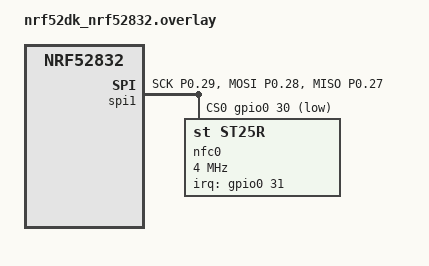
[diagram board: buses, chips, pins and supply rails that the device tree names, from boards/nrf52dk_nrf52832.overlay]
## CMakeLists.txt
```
#-------------------------------------------------------------------------------
# Zephyr Example Application
#
# Copyright (c) 2021 Nordic Semiconductor ASA
# SPDX-License-Identifier: Apache-2.0

cmake_minimum_required(VERSION 3.21)

# STEP 8.1 Add external module
list(APPEND EXTRA_ZEPHYR_MODULES
  ${CMAKE_CURRENT_SOURCE_DIR}/modules/zephyr/zephyr-st25r
)

find_package(Zephyr REQUIRED HINTS $ENV{ZEPHYR_BASE})

project(app LANGUAGES C)


target_sources(app PRIVATE
    src/analogConfigTbl_NFC08A1.c
    src/ce.c
    src/polling.c
    src/bluetooth_manager.c
    src/main.c
    )
```

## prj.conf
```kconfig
CONFIG_LOG=y

CONFIG_SPI=y
CONFIG_I2C=n
CONFIG_GPIO=y

CONFIG_ST25R=y
CONFIG_ST25R3916B=y
CONFIG_ST25R_TRIGGER_GLOBAL_THREAD=y

CONFIG_RFAL_USE_I2C=n
CONFIG_RFAL_FEATURE_NFCA=y
CONFIG_RFAL_FEATURE_ISO_DEP=y
CONFIG_RFAL_FEATURE_ISO_DEP_POLL=y


# Button and LED library
CONFIG_DK_LIBRARY=y

# Bluetooth LE
CONFIG_BT=y
# STEP 1 - Include the Peripheral Role support
CONFIG_BT_PERIPHERAL=y
# STEP 2 - Change the Bluetooth LE device name to Nordic_Peripheral
CONFIG_BT_DEVICE_NAME="SlimIOT Poller"
```

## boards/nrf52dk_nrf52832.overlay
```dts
/* STEP 2.1 - Add the SPI peripheral to spi1 */
&i2c0 {	status = "disabled";};
&spi0 {	status = "disabled";};
&i2c1 {	status = "disabled";};
	
&spi1 {
    compatible = "nordic,nrf-spi"; //using SPI as per ERRATA 58
	status = "okay";
	pinctrl-0 = <&spi1_default>;
	pinctrl-1 = <&spi1_sleep>;
	pinctrl-names = "default", "sleep";
	cs-gpios = <&gpio0 30 GPIO_ACTIVE_LOW>;
	 nfc0: st25r@0 {
        compatible = "st,st25r";
        reg = <0x0>;
        spi-max-frequency = <4000000>;
        irq-gpios = <&gpio0 31 GPIO_ACTIVE_HIGH>;

    };
};

/* STEP 2.2 - Change the pin configuration */
&pinctrl {
	spi1_default: spi1_default {
		group1 {
				psels = <NRF_PSEL(SPIM_SCK, 0, 29)>,
						<NRF_PSEL(SPIM_MOSI, 0, 28)>,
						<NRF_PSEL(SPIM_MISO, 0, 27)>;
		};
	};

	spi1_sleep: spi1_sleep {
		group1 {
				psels = <NRF_PSEL(SPIM_SCK, 0, 29)>,
						<NRF_PSEL(SPIM_MOSI, 0, 28)>,
						<NRF_PSEL(SPIM_MISO, 0, 27)>;
				low-power-enable;
		};
	};
};
```

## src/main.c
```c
#include <stdbool.h>

#include <zephyr/kernel.h>
#include <zephyr/logging/log.h>

#include "demo.h"



LOG_MODULE_DECLARE(ST25R);

const struct gpio_dt_spec ledspec = GPIO_DT_SPEC_GET(DT_NODELABEL(led0), gpios);

int main()
{

    int err = gpio_is_ready_dt(&ledspec);
	if (!err) {
		LOG_ERR("Error: GPIO device is not ready, err: %d", err);
		return 0;
	}

    bool rv = demoIni();
    if (!rv) {
        LOG_ERR("failed to initialize");
    } 

    gpio_pin_configure_dt(&ledspec, GPIO_OUTPUT_ACTIVE);

        while (1) {
             gpio_pin_toggle_dt(&ledspec);
             
            demoCycle();

            LOG_INF("AUJILA");


             k_sleep(K_MSEC(1000));


        }
    

    return 0;
}
```

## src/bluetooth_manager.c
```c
/*
 * Copyright (c) 2023 Nordic Semiconductor ASA
 *
 * SPDX-License-Identifier: LicenseRef-Nordic-5-Clause
 */

#include <zephyr/kernel.h>
#include <zephyr/logging/log.h>
#include <zephyr/bluetooth/bluetooth.h>
#include <zephyr/bluetooth/conn.h>
#include <zephyr/bluetooth/gap.h>
/* STEP 3.2.1 - Include the header file of the UUID helper macros and definitions */
#include <zephyr/bluetooth/uuid.h>
/* STEP 4.1 - Include the header file for managing Bluetooth LE addresses */
#include <zephyr/bluetooth/addr.h>

#include <dk_buttons_and_leds.h>

/* STEP 5.1 - Create the advertising parameter for connectable advertising */
static const struct bt_le_adv_param *adv_param = BT_LE_ADV_PARAM(
	(BT_LE_ADV_OPT_CONN |
	 BT_LE_ADV_OPT_USE_IDENTITY), /* Connectable advertising and use identity address */
	800, /* Min Advertising Interval 500ms (800*0.625ms) */
	801, /* Max Advertising Interval 500.625ms (801*0.625ms) */
	NULL); /* Set to NULL for undirected advertising */

LOG_MODULE_REGISTER(Lesson2_Exercise3, LOG_LEVEL_INF);

#define DEVICE_NAME CONFIG_BT_DEVICE_NAME
#define DEVICE_NAME_LEN (sizeof(DEVICE_NAME) - 1)

#define RUN_STATUS_LED DK_LED1
#define RUN_LED_BLINK_INTERVAL 1000
static struct k_work adv_work;
static const struct bt_data ad[] = {
	/* STEP 3.1 - Set the flags and populate the device name in the advertising packet */
	BT_DATA_BYTES(BT_DATA_FLAGS, (BT_LE_AD_GENERAL | BT_LE_AD_NO_BREDR)),
	BT_DATA(BT_DATA_NAME_COMPLETE, DEVICE_NAME, DEVICE_NAME_LEN),

};

static const struct bt_data sd[] = {
	/* STEP 3.2.2 - Include the 16-bytes (128-Bits) UUID of the LBS service in the scan response packet */
	BT_DATA_BYTES(BT_DATA_UUID128_ALL,
		      BT_UUID_128_ENCODE(0x00001523, 0x1212, 0xefde, 0x1523, 0x785feabcd123)),
};
/* STEP 5.2 - Resume advertising after a disconnection */
static void adv_work_handler(struct k_work *work)
{
	int err = bt_le_adv_start(adv_param, ad, ARRAY_SIZE(ad), sd, ARRAY_SIZE(sd));

	if (err) {
		printk("Advertising failed to start (err %d)\n", err);
		return;
	}

	printk("Advertising successfully started\n");
}
static void advertising_start(void)
{
	k_work_submit(&adv_work);
}
static void recycled_cb(void)
{
	printk("Connection object available from previous conn. Disconnect is complete!\n");
	advertising_start();
}

BT_CONN_CB_DEFINE(conn_callbacks) = {
	.recycled = recycled_cb,
};

int ble_thread_main(void)
{
	int blink_status = 0;
	int err;

	LOG_INF("Starting Lesson 2 - Exercise 3 \n");

	err = dk_leds_init();
	if (err) {
		LOG_ERR("LEDs init failed (err %d)\n", err);
		return -1;
	}

	/* STEP 4.2 - Change the random static address */
	bt_addr_le_t addr;
	err = bt_addr_le_from_str("FF:EE:DD:CC:BB:AA", "random", &addr);
	if (err) {
		printk("Invalid BT address (err %d)\n", err);
	}

	err = bt_id_create(&addr, NULL);
	if (err < 0) {
		printk("Creating new ID failed (err %d)\n", err);
	}

	err = bt_enable(NULL);
	if (err) {
		LOG_ERR("Bluetooth init failed (err %d)\n", err);
		return -1;
	}

	LOG_INF("Bluetooth initialized\n");
	/* STEP 5.3 - Start connectable advertising */
	k_work_init(&adv_work, adv_work_handler);
	advertising_start();

	LOG_INF("Advertising successfully started\n");

	for (;;) {
		dk_set_led(RUN_STATUS_LED, (++blink_status) % 2);
		k_sleep(K_MSEC(RUN_LED_BLINK_INTERVAL));
	}
}


K_THREAD_DEFINE(ble_thread, 4096, ble_thread_main, NULL, NULL, NULL, 1, K_ESSENTIAL, 0);
```

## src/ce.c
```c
/**
  ******************************************************************************
  * @file    demo_ce.c
  * @author  MMY Application Team
  * @brief   Body function to manage card emul mode
  ******************************************************************************
  * @attention
  *
  * Copyright (c) 2021 STMicroelectronics.
  * All rights reserved.
  *
  * This software is licensed under terms that can be found in the LICENSE file
  * in the root directory of this software component.
  * If no LICENSE file comes with this software, it is provided AS-IS.
  *
  ******************************************************************************
  */

/* Includes ------------------------------------------------------------------*/
#include "ce.h"
#include "utils.h"
#include "st_errno.h"
#include "rfal_rf.h"
#include "rfal_nfca.h"
#include "rfal_nfcf.h"

/** @addtogroup X-CUBE-NFC6_Applications
 *  @{
 */

/** @addtogroup CardEmulation
 *  @{
 */

/** @addtogroup CE_CardEmul
 * @{
 */

/* Private typedef -----------------------------------------------------------*/
/** @defgroup CE_CardEmul_Private_Typedef
 * @{
 */
enum States
        {
    STATE_IDLE                      = 0,    /*!< Emulated Tag state idle                  */
    STATE_APP_SELECTED              = 1,    /*!< Emulated Tag state application selected  */
    STATE_CC_SELECTED               = 2,    /*!< Emulated Tag state CCFile selected       */
    STATE_FID_SELECTED              = 3,    /*!< Emulated Tag state FileID selected       */
        };
/**
  * @}
  */

/* Private define ------------------------------------------------------------*/
/** @defgroup CE_CardEmul_Private_Define
 * @{
 */

#define NDEF_SIZE           256       /*!< Max NDEF size emulated. Range: 0005h - 7FFFh    */
#define T4T_CLA_00          0x00      /*!< CLA value for type 4 command                    */
#define T4T_INS_SELECT      0xA4      /*!< INS value for select command                    */
#define T4T_INS_READ        0xB0      /*!< INS value for reabbinary command                */
#define T4T_INS_UPDATE      0xD6      /*!< INS value for update command                    */
#define FID_CC              0xE103    /*!< File ID number for CCFile                       */
#define FID_NDEF            0x0001    /*!< File ID number for NDEF file                    */
#define T3T_BLOCK_SIZE      0x10      /*!< Block size in Type 3 Tag                        */
/**
  * @}
  */

/* Private macro -------------------------------------------------------------*/
/* Private variables ---------------------------------------------------------*/
/** @defgroup CE_CardEmul_Private_Variables
 * @{
 */
static uint8_t        gNfcfNfcid[RFAL_NFCF_NFCID2_LEN];
static uint8_t        ndefFile[NDEF_SIZE];  /*!< Buffer to store NDEF File                 */
static int8_t         nState = STATE_IDLE;  /*!< Type 4 tag emulation status               */
static int32_t        nSelectedIdx = -1;    /*!< current file selected                     */
static int32_t        nFiles = 2;           /*!< Number of file emulated                   */


/**
  * CCLEN : Indicates the size of this CC File <BR>
  * T4T_VNo : Indicates the Mapping Version <BR>
  * MLe high : Max R-APDU size <BR>
  * MLc high : Max C-APDU size <BR>
  * NDEF FCI T: Indicates the NDEF-File_Ctrl_TLV <BR>
  * NDEF FCI L: The length of the V-field <BR>
  * NDEF FCI V1: NDEF File Identifier <BR>
  * NDEF FCI V2: NDEF File size <BR>
  * NDEF FCI V3: NDEF Read AC <BR>
  * NDEF FCI V4: NDEF Write AC <BR>
  */
static uint8_t ccfile[] = {
        0x00, 0x0F,                                       /* CCLEN      */
        0x20,                                             /* T4T_VNo    */
        0x00, 0x7F,                                       /* MLe        */
        0x00, 0x7F,                                       /* MLc        */
        0x04,                                             /* T          */
        0x06,                                             /* L          */
        (FID_NDEF & 0xFF00) >> 8, (FID_NDEF & 0x00FF),    /* V1         */
        (NDEF_SIZE & 0xFF00) >> 8, (NDEF_SIZE & 0x00FF),  /* V2         */
        0x00,                                             /* V3         */
        0x00                                              /* V4         */
};

static uint32_t pdwFileSize[] = {sizeof(ccfile), NDEF_SIZE};  /*!< Current emulated files size     */

/**
  * NDEF length <BR>
  * NDEF Header: MB,ME,SR,Well known Type <BR>
  * NDEF type length <BR>
  * NDEF payload length <BR>
  * NDEF Type : URI <BR>
  * NDEF URI abreviation field : http://www. <BR>
  * NDEF URI string : st.com/st25-demo <BR>
  */
static const uint8_t ndef_uri[] = { 0x00, 0x15,                      /* NDEF length                */
                                    0xD1,                            /* NDEF Header                */
                                    0x01,                            /* NDEF type length           */
                                    0x11,                            /* NDEF payload length        */
                                    0x55,                            /* NDEF Type                  */
                                    0x01,                            /* NDEF URI abreviation field */
                                    0x73, 0x74, 0x2E, 0x63, 0x6F,    /* NDEF URI string            */
                                    0x6D, 0x2F, 0x73, 0x74, 0x32,
                                    0x35, 0x2D, 0x64, 0x65, 0x6D, 0x6F };

__WEAK const uint8_t *demoNdefFile = ndef_uri;
__WEAK uint32_t demoNdefFileLen = sizeof(ndef_uri);


/**
  * Ver : Indicates the NDEF mapping version <BR>
  * Nbr : Indicates the number of blocks that can be read <BR>
  * Nbw : Indicates the number of blocks that can be written <BR>
  * NmaxB : Indicates the maximum number of blocks available for NDEF data <BR>
  * WriteFlag : Indicates whether a previous NDEF write procedure has finished or not <BR>
  * RWFlag : Indicates data can be updated or not <BR>
  * Ln : Is the size of the actual stored NDEF data in bytes <BR>
  * Checksum : allows the Reader/Writer to check whether the Attribute Data are correct <BR>
  */
static uint8_t InformationBlock[] = { 0x10,                                             /* Ver        */
                                      0x08,                                             /* Nbr        */
                                      0x08,                                             /* Nbw        */
                                      0x00, 0x0F,                                       /* NmaxB      */
                                      0x00, 0x00, 0x00, 0x00,                           /* RFU        */
                                      0x00,                                             /* WriteFlag  */
                                      0x01,                                             /* RWFlag     */
                                      0x00, 0x00, 0x15,                                 /* Ln         */
                                      0x00, 0x45                                        /* Checksum   */
};
/**
  * @}
  */

/* Private function prototypes -----------------------------------------------*/

/* Private functions ---------------------------------------------------------*/
/** @defgroup CE_CardEmul_Private_Functions
 * @{
 */

/**
  *****************************************************************************
  * @brief  Compare 2 commands supplied in parameters
  *
  * @param[in]  cmd : pointer to the received command.
  * @param[in]  find : pointer to the avalaible command.
  * @param[in]  len : length of the available command.
  *
  * @retval True : Same command.
  * @retval False : Different command.
  *****************************************************************************
  */
static bool cmdCompare(uint8_t *cmd, uint8_t *find, uint16_t len)
{
    for(int i = 0; i < 20; i++)
    {
        if(!memcmp(&cmd[i],find, len))
        {
            return true;
        }
    }
    return false;
}

/**
  *****************************************************************************
  * @brief  Manage the T4T Select answer to the reader
  *
  * @param[in]  cmdData    : pointer to the received command.
  * @param[out] rspData    : pointer to the answer to send.
  *
  * @return Answer size.
  *****************************************************************************
  */
static uint16_t demoCeT4TSelect(uint8_t *cmdData, uint8_t *rspData )
{
    bool success = false;
    /*
     * Cmd: CLA(1) | INS(1) | P1(1) | P2(1) | Lc(1) | Data(n) | [Le(1)]
     * Rsp: [FCI(n)] | SW12
     *
     * Select App by Name NDEF:       00 A4 04 00 07 D2 76 00 00 85 01 01 00
     * Select App by Name NDEF 4 ST:  00 A4 04 00 07 A0 00 00 00 03 00 00 00
     * Select CC FID:                 00 A4 00 0C 02 xx xx
     * Select NDEF FID:               00 A4 00 0C 02 xx xx
     */

    uint8_t aid[] = {0xD2, 0x76, 0x00, 0x00, 0x85, 0x01, 0x01};
    uint8_t fidCC[] = {FID_CC >> 8 , FID_CC & 0xFF};
    uint8_t fidNDEF[] = {FID_NDEF >> 8, FID_NDEF & 0xFF};
    uint8_t selectFileId[] = {0xA4, 0x00, 0x0C, 0x02, 0x00, 0x01 };


    if(cmdCompare( cmdData, aid, sizeof(aid)))
    { /* Select Appli */
        nState = STATE_APP_SELECTED;
        success = true;
    }
    else if((nState >= STATE_APP_SELECTED) && cmdCompare(cmdData, fidCC, sizeof(fidCC)))
    { /* Select CC */
        nState = STATE_CC_SELECTED;
        nSelectedIdx = 0;
        success = true;
    }
    else if((nState >= STATE_APP_SELECTED) && (cmdCompare(cmdData,fidNDEF,sizeof(fidNDEF)) || cmdCompare(cmdData,selectFileId,sizeof(selectFileId))))
    { /* Select NDEF */
        nState = STATE_FID_SELECTED;
        nSelectedIdx = 1;
        success = true;
    }
    else
    {
        nState = STATE_IDLE;
    }

    rspData[0] = (success ? (char)0x90 : 0x6A);
    rspData[1] = (success ? (char)0x00 : 0x82);

    return 2;
}

/**
  *****************************************************************************
  * @brief  Manage the T4T Read answer to the reader
  *
  * @param[in]  cmdData    : pointer to the received command.
  * @param[out] rspData    : pointer to the answer to send.
  * @param[in]  rspDataLen : size of the answer buffer.
  *
  * @return Answer size.
  *****************************************************************************
  */
static uint16_t demoCeT4TRead(uint8_t *cmdData, uint8_t *rspData, uint16_t rspDataLen)
{
    /*
     * Cmd: CLA(1) | INS(1) | P1(1).. offset inside file high | P2(1).. offset inside file high | Le(1).. nBytes to read
     * Rsp: BytesRead | SW12
     */
    unsigned short offset = (cmdData[2] << 8) | cmdData[3];
    unsigned short toRead = cmdData[4];
    uint8_t * ppbMemory;

    if( rspDataLen < 2 )
    {
        platformErrorHandle();  /* Must ensure appropriate buffer */
    }

    /* Any file selected */
    if(nSelectedIdx < 0 || nSelectedIdx >= nFiles)
    {
        rspData[0] = ((char)0x6A);
        rspData[1] = ((char)0x82);
        return 2;
    }

    /* offset + length exceed file size */
    if((unsigned long)(offset + toRead) > pdwFileSize[nSelectedIdx])
    {
        toRead = pdwFileSize[nSelectedIdx] - offset;
    }

    if( rspDataLen < (toRead+2) )
    {
        rspData[0] = ((char)0x6F);
        rspData[1] = ((char)0x00);
        return 2;
    }

    ppbMemory = (nSelectedIdx == 0 ? ccfile : ndefFile);
    /* read data */
    memcpy(rspData, &ppbMemory[offset], toRead);

    rspData[toRead] = ((char)0x90);
    rspData[toRead+1] = ((char)0x00);
    return toRead + 2;
}

/**
  *****************************************************************************
  * @brief  Manage the T4T Update answer to the reader
  *
  * @param[in]  cmdData : pointer to the received command.
  * @param[in]  rspData : pointer to the answer to send.
  *
  * @return Answer size.
  *****************************************************************************
  */
static uint16_t demoCeT4TUpdate(uint8_t *cmdData, uint8_t *rspData)
{
    uint32_t offset = (cmdData[2] << 8) | cmdData[3];
    uint32_t length = cmdData[4];


    if(nSelectedIdx != 1)
    {
        rspData[0] = ((char)0x6A);
        rspData[1] = ((char)0x82);
        return 2;
    }

    if((unsigned long)(offset + length) > pdwFileSize[nSelectedIdx])
    {
        rspData[0] = ((char)0x62);
        rspData[1] = ((char)0x82);
        return 2;
    }

    memcpy((ndefFile + offset), &cmdData[5], length);

    rspData[0] = ((char)0x90);
    rspData[1] = ((char)0x00);
    return 2;
}

/**
  *****************************************************************************
  * @brief  Manage the T4T Read answer to the reader
  *
  * @param[in]  cmdData    : pointer to the received command.
  * @param[out] rspData    : pointer to the answer to send.
  * @param[in]  rspDataLen : size of the answer buffer.
  *
  * @return Answer size.
  *****************************************************************************
  */
static uint16_t demoCeT3TCheck(uint8_t *cmdData, uint8_t *rspData, uint16_t rspDataLen)
{
    /*
     * Cmd: cmd | NFCID2 | NoS | Service code list | NoB | Block list
     * Rsp: rsp | NFCID2 | Status Flag 1 | Status Flag 2 | NoB | Block Data
     */
    uint8_t *block;
    uint16_t blocknb[256];
    uint32_t idx = 0;
    uint32_t cnt = 0;
    uint32_t nbmax = 0;


    /* Command response */
    rspData[idx++] = RFAL_NFCF_CMD_READ_WITHOUT_ENCRYPTION + 1;

    /* NFCID 2 bytes */
    if( ST_BYTECMP( gNfcfNfcid, &cmdData[ RFAL_NFCF_LENGTH_LEN + RFAL_NFCF_CMD_LEN ], RFAL_NFCF_NFCID2_LEN ) == 0 )
    {
        ST_MEMCPY( &rspData[idx], &gNfcfNfcid, RFAL_NFCF_NFCID2_LEN );
        idx += RFAL_NFCF_NFCID2_LEN;
    }
    else
    {
        /* If NFCID2 in command is different, no answer */
        return 0;
    }

    /* Check for command errors */
    if( (cmdData[10] != 1) || ((cmdData[11] != 0x09) && (cmdData[11] != 0x0B))
    || (cmdData[13] == 0) || (cmdData[13] > InformationBlock[1]) )
    {
        rspData[idx++] = 0xFF;
        rspData[idx++] = 0xFF;
        return idx;
    }
    else
    {
        rspData[idx++] = 0x00;
        rspData[idx++] = 0x00;
    }


    /* Verify CHECK response length */
    if( rspDataLen < (11 + (cmdData[13] * T3T_BLOCK_SIZE)) )
    {
        platformErrorHandle();  /* Must ensure appropriate buffer */
    }

    /* Nob */
    rspData[idx++] = cmdData[13];

    /* Retrieving block to read */
    block = &cmdData[14];
    for( cnt = 0; cnt < cmdData[13]; cnt++ )
    {
        /* TS T3T 5.6.1.5 Service Code List Order value SHALL be between 0 and NoS-1 */
        if( ((*block) & 0x0F) >=  cmdData[10] )
        {
            rspData[idx - 3] = 0xFF;
            rspData[idx - 2] = 0x80; /* TS T3T table 13 - proprietary value to indicate specific error conditions.*/
            return (idx - 1);
        }
        /* Check block list element size */
        if( *block & 0x80 )
        {
            /* 2-byte Block List element */
            blocknb[cnt] = *(block + 1);
            block += 2;
        }
        else
        {
            /* 3-byte Block List element */
            blocknb[cnt] = *(block + 2); /* Little Endian Format */
            blocknb[cnt] <<= 8;
            blocknb[cnt] |= *(block + 1);
            block += 3;
        }

        /* Return error if Blocknb > NmaxB */
        nbmax = InformationBlock[3];
        nbmax = (nbmax << 8) | InformationBlock[4];
        if( blocknb[cnt] > nbmax )
        {
            rspData[idx - 3] = 0xFF;
            rspData[idx - 2] = 0x70;
            return (idx - 1);
        }
    }

    for( cnt = 0; cnt < cmdData[13]; cnt++ )
    {
        if( blocknb[cnt] == 0x0000 )
        {
            /* Read information block */
            ST_MEMCPY( &rspData[idx], InformationBlock, sizeof(InformationBlock));
            idx += sizeof(InformationBlock);
        }
        else
        {
            /* Read ndef block */
            ST_MEMCPY( &rspData[idx], &ndefFile[2 + ((blocknb[cnt] - 1) * T3T_BLOCK_SIZE) ], T3T_BLOCK_SIZE);
            idx += T3T_BLOCK_SIZE;
        }
    }

    return idx;
}

/**
  *****************************************************************************
  * @brief  Manage the T3T Update answer to the reader
  *
  * @param[in]  cmdData : pointer to the received command.
  * @param[in]  rspData : pointer to the answer to send.
  *
  * @return Answer size.
  *****************************************************************************
  */
static uint16_t demoCeT3TUpdate(uint8_t *cmdData, uint8_t *rspData)
{
    /*
     * Cmd: cmd | NFCID2 | NoS | Service code list | NoB | Block list | Block Data
     * Rsp: rsp | NFCID2 | Status Flag 1 | Status Flag 2
     */
    uint8_t *block;
    uint16_t blocknb[256];
    uint32_t idx = 0;
    uint32_t cnt = 0;
    uint32_t nbmax = 0;

    /* Command response */
    rspData[idx++] = RFAL_NFCF_CMD_WRITE_WITHOUT_ENCRYPTION + 1;

    /* NFCID 2 bytes */
    if( ST_BYTECMP( gNfcfNfcid, &cmdData[ RFAL_NFCF_LENGTH_LEN + RFAL_NFCF_CMD_LEN ], RFAL_NFCF_NFCID2_LEN ) == 0 )
    {
        ST_MEMCPY( &rspData[idx], gNfcfNfcid, RFAL_NFCF_NFCID2_LEN );
        idx += RFAL_NFCF_NFCID2_LEN;
    }
    else
    {
        /* If NFCID2 in command is different, no answer */
        return 0;
    }

    /* Check for command errors */
    if( (cmdData[10] != 1) || (cmdData[11] != 0x09)
    || (cmdData[13] == 0) || (cmdData[13] > InformationBlock[2]) )
    {
        rspData[idx++] = 0xFF;
        rspData[idx++] = 0xFF;
        return idx;
    }
    else
    {
        rspData[idx++] = 0x00;
        rspData[idx++] = 0x00;
    }


    /* Retrieving block to read */
    block = &cmdData[14];
    for( cnt = 0; cnt < cmdData[13]; cnt++ )
    {
        /* Check block list element size */
        if( *block & 0x80 )
        {
            /* 2-byte Block List element */
            blocknb[cnt] = *(block + 1);
            block += 2;
        }
        else
        {
            /* 3-byte Block List element */
            blocknb[cnt] = *(block + 2); /* Little Endian Format */
            blocknb[cnt] <<= 8;
            blocknb[cnt] |= *(block + 1);
            block += 3;
        }
        /* Return error if Blocknb > NmaxB */
        nbmax = InformationBlock[3];
        nbmax = (nbmax << 8) | InformationBlock[4];
        if( blocknb[cnt] > nbmax )
        {
            rspData[idx - 2] = 0xFF;
            rspData[idx - 1] = 0x70;
            return idx;
        }
    }

    for( cnt = 0; cnt < cmdData[13]; cnt++ )
    {
        if( blocknb[cnt] == 0x0000 )
        {
            /* Write information block */
            ST_MEMCPY( InformationBlock, block, T3T_BLOCK_SIZE);
            block += T3T_BLOCK_SIZE;
        }
        else
        {
            /* Read ndef block */
            ST_MEMCPY( &ndefFile[2 + ((blocknb[cnt] - 1) * T3T_BLOCK_SIZE) ], block, T3T_BLOCK_SIZE);
            block += T3T_BLOCK_SIZE;
        }
    }

    /* Status flag answer */
    rspData[idx++] = 0x00;
    rspData[idx++] = 0x00;

    return idx;
}


/**
  *****************************************************************************
  * @brief  Demo CE Initialize
  *
  * Initializes the demo CE
  *
  * @param[in]  nfcfNfcid : The NFCID to be used in T3T CE.
  *
  * @return None
  *****************************************************************************
  */
void demoCeInit( uint8_t* nfcfNfcid )
{
    if( nfcfNfcid != NULL )
    {
        ST_MEMCPY( gNfcfNfcid, nfcfNfcid, RFAL_NFCF_NFCID2_LEN );
    }

    ST_MEMCPY( ndefFile, (uint8_t *)demoNdefFile, demoNdefFileLen );
    /* Update AIB Ln with actual NDEF length */
    InformationBlock[12] = demoNdefFile[0];
    InformationBlock[13] = demoNdefFile[1];
    uint16_t checksum = 0;
    for (int i = 0; i < 14; i++)
    {
        checksum += InformationBlock[i];
    }
    InformationBlock[14] = checksum >> 8;
    InformationBlock[15] = checksum & 0xFF;
}

/**
  *****************************************************************************
  * @brief  Demo CE T4T
  *
  * Parses the received command and computes the response to be sent back to
  * the Reader
  *
  * @param[in]  rxData : pointer to the received command.
  * @param[in]  rxDataLen : length of the received command.
  * @param[in]  txBuf : pointer to where the response will be placed.
  * @param[in]  txBufLen : size of txBuf.
  *
  * @return Response size.
  *****************************************************************************
  */
uint16_t demoCeT4T(uint8_t *rxData, uint16_t rxDataLen, uint8_t *txBuf, uint16_t txBufLen )
{
    if( (txBuf == NULL) || (txBufLen < 2) )
    {
        platformErrorHandle();  /* Must ensure appropriate buffer */
    }


    if( (rxData != NULL) && (rxDataLen >= 4) )
    {
        if(rxData[0] == T4T_CLA_00)
        {
            switch(rxData[1])
            {
                case T4T_INS_SELECT:
                    return demoCeT4TSelect(rxData, txBuf);

                    case T4T_INS_READ:
                        return demoCeT4TRead(rxData, txBuf, txBufLen);

                        case T4T_INS_UPDATE:
                            return demoCeT4TUpdate(rxData, txBuf);

                            default:
                                break;
            }
        }
    }

    /* Function not supported ...  */
    txBuf[0] = ((char)0x68);
    txBuf[1] = ((char)0x00);
    return 2;
}

/**
  *****************************************************************************
  * @brief  Demo CE T3T
  *
  * Parses the received command and computes the response to be sent back to
  * the Reader
  *
  * @param[in]  rxData : pointer to the received command.
  * @param[in]  rxDataLen : length of the received command.
  * @param[in]  txBuf : pointer to where the response will be placed.
  * @param[in]  txBufLen : size of txBuf.
  *
  * @return Response size.
  *****************************************************************************
  */
uint16_t demoCeT3T(uint8_t *rxData, uint16_t rxDataLen, uint8_t *txBuf, uint16_t txBufLen )
{
    if( (txBuf == NULL) || (txBufLen < 11) )
    {
        platformErrorHandle();  /* Must ensure appropriate buffer */
    }

    if( (rxData != NULL) && (rxDataLen >= 4) )
    {
        switch(rxData[1])
        {
            case RFAL_NFCF_CMD_READ_WITHOUT_ENCRYPTION:
                return demoCeT3TCheck(rxData, txBuf, txBufLen);

                case RFAL_NFCF_CMD_WRITE_WITHOUT_ENCRYPTION:
                    return demoCeT3TUpdate(rxData, txBuf);

                    default:
                        break;
        }
    }

    /* Function not supported ...  */
    txBuf[0] = ((char)0xFF);
    txBuf[1] = ((char)0xFF);
    return 2;
}



/**
  * @}
  */

/**
  * @}
  */

/**
  * @}
  */

/**
  * @}
  */
```

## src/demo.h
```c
/**
  *****************************************************************************
  * @file    demo.h
  * @brief   Header for polling tag detect
  ******************************************************************************
  * @attention
  *
  * Copyright (c) 2021 STMicroelectronics.
  * All rights reserved.
  *
  * This software is licensed under terms that can be found in the LICENSE file
  * in the root directory of this software component.
  * If no LICENSE file comes with this software, it is provided AS-IS.
  *
  ******************************************************************************
  */

/* Define to prevent recursive inclusion -------------------------------------*/
#ifndef DEMO_H
#define DEMO_H

#ifdef __cplusplus
extern "C" {
#endif

/* Includes ------------------------------------------------------------------*/
#include "platform.h"
#include "st_errno.h"

/** @addtogroup X-CUBE-NFC6_Applications
 *  @{
 */

/** @addtogroup PollingTagDetect
 *  @{
 */

/** @defgroup PTD_Demo
 *  @brief Demo functions containing the example code
 * @{
 */

/* Exported types ------------------------------------------------------------*/
/* Exported constants --------------------------------------------------------*/
/* Exported macro ------------------------------------------------------------*/

/* Exported functions ------------------------------------------------------- */
/** @defgroup PTD_Demo_Exported_Functions
 *  @{
 */
bool demoIni( void );
void demoCycle(void);

/**
  * @}
  */

/**
  * @}
  */ 

/**
  * @}
  */

/**
  * @}
  */

#ifdef __cplusplus
}
#endif

#endif /* DEMO_H */
```
